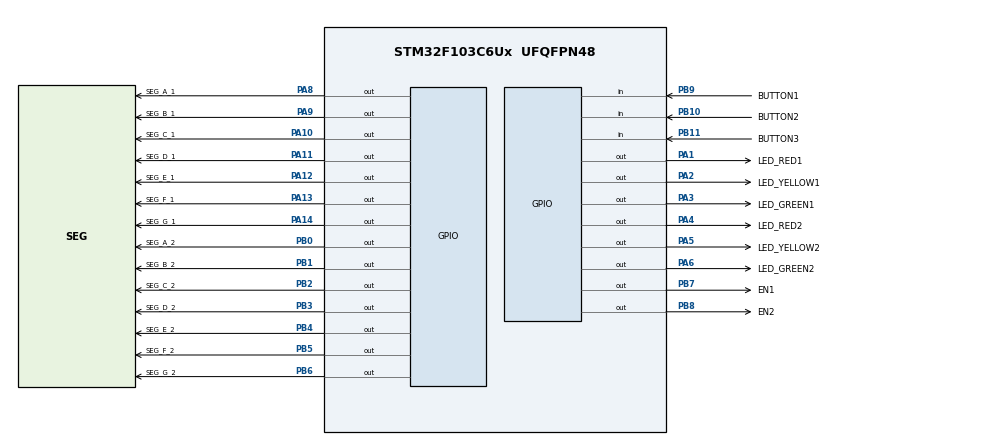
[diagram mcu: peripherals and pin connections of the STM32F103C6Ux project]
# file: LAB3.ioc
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Mcu.Family=STM32F1
Mcu.Name=STM32F103C6Ux
Mcu.Package=UFQFPN48
NVIC.PriorityGroup=NVIC_PRIORITYGROUP_4
NVIC.TIM2_IRQn=true\:0\:0\:false\:false\:true\:true\:true
PA1.GPIO_Label=LED_RED1
PA1.Signal=GPIO_Output
PA10.GPIO_Label=SEG_C_1
PA10.Signal=GPIO_Output
PA11.GPIO_Label=SEG_D_1
PA11.Signal=GPIO_Output
PA12.GPIO_Label=SEG_E_1
PA12.Signal=GPIO_Output
PA13.GPIO_Label=SEG_F_1
PA13.Signal=GPIO_Output
PA14.GPIO_Label=SEG_G_1
PA14.Signal=GPIO_Output
PA2.GPIO_Label=LED_YELLOW1
PA2.Signal=GPIO_Output
PA3.GPIO_Label=LED_GREEN1
PA3.Signal=GPIO_Output
PA4.GPIO_Label=LED_RED2
PA4.Signal=GPIO_Output
PA5.GPIO_Label=LED_YELLOW2
PA5.Signal=GPIO_Output
PA6.GPIO_Label=LED_GREEN2
PA6.Signal=GPIO_Output
PA8.GPIO_Label=SEG_A_1
PA8.Signal=GPIO_Output
PA9.GPIO_Label=SEG_B_1
PA9.Signal=GPIO_Output
PB0.GPIO_Label=SEG_A_2
PB0.Signal=GPIO_Output
PB1.GPIO_Label=SEG_B_2
PB1.Signal=GPIO_Output
PB10.GPIO_Label=BUTTON2
PB10.Signal=GPIO_Input
PB11.GPIO_Label=BUTTON3
PB11.Signal=GPIO_Input
PB2.GPIO_Label=SEG_C_2
PB2.Signal=GPIO_Output
PB3.GPIO_Label=SEG_D_2
PB3.Signal=GPIO_Output
PB4.GPIO_Label=SEG_E_2
PB4.Signal=GPIO_Output
PB5.GPIO_Label=SEG_F_2
PB5.Signal=GPIO_Output
PB6.GPIO_Label=SEG_G_2
PB6.Signal=GPIO_Output
PB7.GPIO_Label=EN1
PB7.Signal=GPIO_Output
PB8.GPIO_Label=EN2
PB8.Signal=GPIO_Output
PB9.GPIO_Label=BUTTON1
PB9.Signal=GPIO_Input
ProjectManager.HeapSize=0x200
ProjectManager.StackSize=0x400
ProjectManager.TargetToolchain=STM32CubeIDE
RCC.APB1Freq_Value=8000000
RCC.APB2Freq_Value=8000000
TIM2.Period=9
TIM2.Prescaler=7999
VP_SYS_VS_ND.Mode=No_Debug
VP_TIM2_VS_ClockSourceINT.Mode=Internal
board=custom

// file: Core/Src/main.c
/* USER CODE BEGIN Header */
/**
  ******************************************************************************
  * @file           : main.c
  * @brief          : Main program body
  ******************************************************************************
  * @attention
  *
  * <h2><center>&copy; Copyright (c) 2023 STMicroelectronics.
  * All rights reserved.</center></h2>
  *
  * This software component is licensed by ST under BSD 3-Clause license,
  * the "License"; You may not use this file except in compliance with the
  * License. You may obtain a copy of the License at:
  *                        opensource.org/licenses/BSD-3-Clause
  *
  ******************************************************************************
  */
/* USER CODE END Header */
#include "main.h"
#include "button.h"
#include "software_timer.h"
#include "input_reader.h"

TIM_HandleTypeDef htim2;

void SystemClock_Config(void);
static void MX_GPIO_Init(void);
static void MX_TIM2_Init(void);

/* USER CODE BEGIN 0 */
/////////////////////////////////////////////////////

void reset_mode0() {
	mode0_stage = 4;
	count = -1;
	count_vertical = -1;
	new_mode = 0;
}

void mode0_timer() {
    count = count - 1;
    count_vertical = count_vertical - 1;
}

void mode_0() {
    if (mode0_stage == 1) {
        if (count <= 0) {
            count = yellow_time;
            mode0_stage = 2;
            HAL_GPIO_WritePin(LED_YELLOW1_GPIO_Port, LED_YELLOW1_Pin, 0); // Turn on yellow 1
            HAL_GPIO_WritePin(LED_GREEN1_GPIO_Port, LED_GREEN1_Pin, 1); // Turn off green 1
        }
    }
    if (mode0_stage == 2) {
        if (count <= 0) {
            count = red_time;
            count_vertical = green_time;
            mode0_stage = 3;
            HAL_GPIO_WritePin(LED_RED1_GPIO_Port, LED_RED1_Pin, 0); // Turn on red 1
            HAL_GPIO_WritePin(LED_GREEN2_GPIO_Port, LED_GREEN2_Pin, 0); // Turn on green 2
            HAL_GPIO_WritePin(LED_RED2_GPIO_Port, LED_RED2_Pin, 1); // Turn off red 2
            HAL_GPIO_WritePin(LED_YELLOW1_GPIO_Port, LED_YELLOW1_Pin, 1); // Turn off yellow 1
        }
    }
    if (mode0_stage == 3) {
  	  if (count_vertical <= 0) {
            count_vertical = yellow_time;
            mode0_stage = 4;
            HAL_GPIO_WritePin(LED_GREEN2_GPIO_Port, LED_GREEN2_Pin, 1); // Turn off green 2
            HAL_GPIO_WritePin(LED_YELLOW2_GPIO_Port, LED_YELLOW2_Pin, 0); // Turn on yellow 2
        }
    }
    if (mode0_stage == 4) {
        if (count <= 0) {
            count = green_time;
            count_vertical = red_time;
            mode0_stage = 1;
            HAL_GPIO_WritePin(LED_RED1_GPIO_Port, LED_RED1_Pin, 1);
            HAL_GPIO_WritePin(LED_YELLOW1_GPIO_Port, LED_YELLOW1_Pin, 1);
            HAL_GPIO_WritePin(LED_GREEN1_GPIO_Port, LED_GREEN1_Pin, 0);
            HAL_GPIO_WritePin(LED_RED2_GPIO_Port, LED_RED2_Pin, 0);
            HAL_GPIO_WritePin(LED_YELLOW2_GPIO_Port, LED_YELLOW2_Pin, 1);
            HAL_GPIO_WritePin(LED_GREEN2_GPIO_Port, LED_GREEN2_Pin, 1);
        }
    }
    seg1 = count/100 + 1;
    seg2 = count_vertical/100 + 1;
}
////////////////////////////////////////////////////////

/* USER CODE END 0 */

int main(void)
{

  /* MCU Configuration--------------------------------------------------------*/

  /* Reset of all peripherals, Initializes the Flash interface and the Systick. */
  HAL_Init();

  /* Configure the system clock */
  SystemClock_Config();

  /* Initialize all configured peripherals */
  MX_GPIO_Init();
  MX_TIM2_Init();
  /* USER CODE BEGIN 2 */
  HAL_TIM_Base_Start_IT(&htim2);
  /* USER CODE END 2 */

  /* Infinite loop */
  /* USER CODE BEGIN WHILE */
  init_Button();
  while (1)
  {
	  MODE_Selector();
	  switch (MODE) {
		  case 0:
			  if (new_mode == 1) {
				  reset_mode0();
			  }
			  mode_0();
			  break;
		  default:
			  LED_BLINKY();
			  mode_123();
			  break;
	  }

	  /////////////////////////
	  if (timer0_flag == 1) {
		DISPLAY_OUTPUT();
		setTimer0(30);
	  }
  }
  /* USER CODE END 3 */
}

void SystemClock_Config(void)
{
  RCC_OscInitTypeDef RCC_OscInitStruct = {0};
  RCC_ClkInitTypeDef RCC_ClkInitStruct = {0};

  /** Initializes the RCC Oscillators according to the specified parameters
  * in the RCC_OscInitTypeDef structure.
  */
  RCC_OscInitStruct.OscillatorType = RCC_OSCILLATORTYPE_HSI;
  RCC_OscInitStruct.HSIState = RCC_HSI_ON;
  RCC_OscInitStruct.HSICalibrationValue = RCC_HSICALIBRATION_DEFAULT;
  RCC_OscInitStruct.PLL.PLLState = RCC_PLL_NONE;
  if (HAL_RCC_OscConfig(&RCC_OscInitStruct) != HAL_OK)
  {
    Error_Handler();
  }
  /** Initializes the CPU, AHB and APB buses clocks
  */
  RCC_ClkInitStruct.ClockType = RCC_CLOCKTYPE_HCLK|RCC_CLOCKTYPE_SYSCLK
                              |RCC_CLOCKTYPE_PCLK1|RCC_CLOCKTYPE_PCLK2;
  RCC_ClkInitStruct.SYSCLKSource = RCC_SYSCLKSOURCE_HSI;
  RCC_ClkInitStruct.AHBCLKDivider = RCC_SYSCLK_DIV1;
  RCC_ClkInitStruct.APB1CLKDivider = RCC_HCLK_DIV1;
  RCC_ClkInitStruct.APB2CLKDivider = RCC_HCLK_DIV1;

  if (HAL_RCC_ClockConfig(&RCC_ClkInitStruct, FLASH_LATENCY_0) != HAL_OK)
  {
    Error_Handler();
  }
}

static void MX_TIM2_Init(void)
{

  TIM_ClockConfigTypeDef sClockSourceConfig = {0};
  TIM_MasterConfigTypeDef sMasterConfig = {0};

  htim2.Instance = TIM2;
  htim2.Init.Prescaler = 7999;
  htim2.Init.CounterMode = TIM_COUNTERMODE_UP;
  htim2.Init.Period = 9;
  htim2.Init.ClockDivision = TIM_CLOCKDIVISION_DIV1;
  htim2.Init.AutoReloadPreload = TIM_AUTORELOAD_PRELOAD_DISABLE;
  if (HAL_TIM_Base_Init(&htim2) != HAL_OK)
  {
    Error_Handler();
  }
  sClockSourceConfig.ClockSource = TIM_CLOCKSOURCE_INTERNAL;
  if (HAL_TIM_ConfigClockSource(&htim2, &sClockSourceConfig) != HAL_OK)
  {
    Error_Handler();
  }
  sMasterConfig.MasterOutputTrigger = TIM_TRGO_RESET;
  sMasterConfig.MasterSlaveMode = TIM_MASTERSLAVEMODE_DISABLE;
  if (HAL_TIMEx_MasterConfigSynchronization(&htim2, &sMasterConfig) != HAL_OK)
  {
    Error_Handler();
  }

}

static void MX_GPIO_Init(void)
{
  GPIO_InitTypeDef GPIO_InitStruct = {0};

  /* GPIO Ports Clock Enable */
  __HAL_RCC_GPIOA_CLK_ENABLE();
  __HAL_RCC_GPIOB_CLK_ENABLE();

  /*Configure GPIO pin Output Level */
  HAL_GPIO_WritePin(GPIOA, LED_RED1_Pin|LED_YELLOW1_Pin|LED_GREEN1_Pin|LED_RED2_Pin
                          |LED_YELLOW2_Pin|LED_GREEN2_Pin|SEG_A_1_Pin|SEG_B_1_Pin
                          |SEG_C_1_Pin|SEG_D_1_Pin|SEG_E_1_Pin|SEG_F_1_Pin
                          |SEG_G_1_Pin, GPIO_PIN_RESET);

  /*Configure GPIO pin Output Level */
  HAL_GPIO_WritePin(GPIOB, SEG_A_2_Pin|SEG_B_2_Pin|SEG_C_2_Pin|SEG_D_2_Pin
                          |SEG_E_2_Pin|SEG_F_2_Pin|SEG_G_2_Pin|EN1_Pin
                          |EN2_Pin, GPIO_PIN_RESET);

  /*Configure GPIO pins : LED_RED1_Pin LED_YELLOW1_Pin LED_GREEN1_Pin LED_RED2_Pin
                           LED_YELLOW2_Pin LED_GREEN2_Pin SEG_A_1_Pin SEG_B_1_Pin
                           SEG_C_1_Pin SEG_D_1_Pin SEG_E_1_Pin SEG_F_1_Pin
                           SEG_G_1_Pin */
  GPIO_InitStruct.Pin = LED_RED1_Pin|LED_YELLOW1_Pin|LED_GREEN1_Pin|LED_RED2_Pin
                          |LED_YELLOW2_Pin|LED_GREEN2_Pin|SEG_A_1_Pin|SEG_B_1_Pin
                          |SEG_C_1_Pin|SEG_D_1_Pin|SEG_E_1_Pin|SEG_F_1_Pin
                          |SEG_G_1_Pin;
  GPIO_InitStruct.Mode = GPIO_MODE_OUTPUT_PP;
  GPIO_InitStruct.Pull = GPIO_NOPULL;
  GPIO_InitStruct.Speed = GPIO_SPEED_FREQ_LOW;
  HAL_GPIO_Init(GPIOA, &GPIO_InitStruct);

  /*Configure GPIO pins : SEG_A_2_Pin SEG_B_2_Pin SEG_C_2_Pin SEG_D_2_Pin
                           SEG_E_2_Pin SEG_F_2_Pin SEG_G_2_Pin EN1_Pin
                           EN2_Pin */
  GPIO_InitStruct.Pin = SEG_A_2_Pin|SEG_B_2_Pin|SEG_C_2_Pin|SEG_D_2_Pin
                          |SEG_E_2_Pin|SEG_F_2_Pin|SEG_G_2_Pin|EN1_Pin
                          |EN2_Pin;
  GPIO_InitStruct.Mode = GPIO_MODE_OUTPUT_PP;
  GPIO_InitStruct.Pull = GPIO_NOPULL;
  GPIO_InitStruct.Speed = GPIO_SPEED_FREQ_LOW;
  HAL_GPIO_Init(GPIOB, &GPIO_InitStruct);

  /*Configure GPIO pins : BUTTON2_Pin BUTTON3_Pin BUTTON1_Pin */
  GPIO_InitStruct.Pin = BUTTON2_Pin|BUTTON3_Pin|BUTTON1_Pin;
  GPIO_InitStruct.Mode = GPIO_MODE_INPUT;
  GPIO_InitStruct.Pull = GPIO_NOPULL;
  HAL_GPIO_Init(GPIOB, &GPIO_InitStruct);

}

/* USER CODE BEGIN 4 */
void HAL_TIM_PeriodElapsedCallback(TIM_HandleTypeDef *htim) {
	timerRun();
	getKeyInput();
	update_SEG(SEG_turn);
	if (MODE == 0){
		mode0_timer();
	}
}
/* USER CODE END 4 */

void Error_Handler(void)
{
  __disable_irq();
  while (1)
  {
  }
}

/************************ (C) COPYRIGHT STMicroelectronics *****END OF FILE****/
